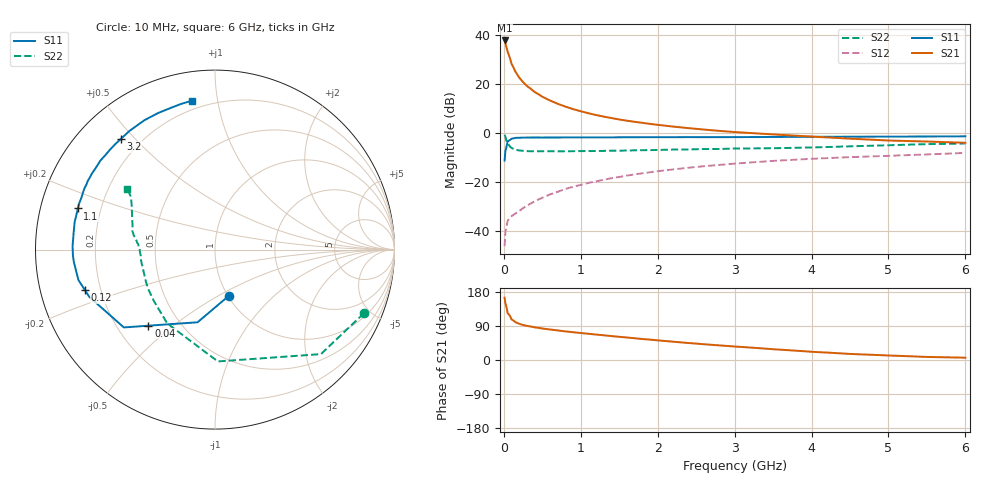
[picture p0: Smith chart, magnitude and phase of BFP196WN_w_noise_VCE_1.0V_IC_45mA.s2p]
! Infineon Technologies  Discrete & RF Semiconductors
! BFP196WN
! VCE =  1.0 V,  IC =  45 mA
! Common Emitter S-Parameters:  Jan 2017
# GHz  S  MA  R  50
!  f  S11  S21  S12  S22
! GHz  MAG  ANG  MAG  ANG  MAG  ANG  MAG  ANG
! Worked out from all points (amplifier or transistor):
!   77 points, 10 MHz to 6 GHz, reference 50 ohm
!   highest |S21| = 37.6 dB at 10 MHz (marker M1)
!   |S21| within 3 dB of that: start of sweep to 35.61 MHz
!   unconditionally stable (mu >= 1): 560.8 MHz to 3.197 GHz
!   at 130 MHz: K = 0.56, MSG = 29.9 dB, |S12| = -33.5 dB
!   at 2.2 GHz: K = 1.03, MAG = 7.7 dB, |S12| = -15.0 dB
!   at 6 GHz: K = 0.96, MSG = 2.1 dB, |S12| = -8.3 dB
!   lowest NFmin = 1.22 dB at 450 MHz
!   S11 on the Smith chart (normalised r, x): 10 MHz: 1.01, -0.56; 40 MHz: 0.33, -0.41; 120 MHz: 0.14, -0.15; 1.1 GHz: 0.11, +0.14; 3.2 GHz: 0.13, +0.46; 6 GHz: 0.15, +0.84
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0.01  0.2686 -73.3  75.99 164.3  0.0048 73.8  0.902 -23.2
0.02  0.4165 -103.5  66.74 149.4  0.0089 65.5  0.8291 -44.6
0.04  0.5634 -131.2  50.59 134.5  0.0134 50.7  0.6438 -71.2
0.05  0.6677 -139.5  44.47 123.4  0.0159 46.6  0.6233 -88.5
0.1  0.7483 -159.4  25.37 107.1  0.0196 43.4  0.4898 -122.9
0.12  0.759 -162.7  22.2 104.8  0.0206 44.0  0.467 -129.3
0.15  0.7796 -167.5  17.55 99.9  0.0222 44.8  0.445 -139.9
0.2  0.7843 -172.2  13.29 95.6  0.0251 49.5  0.4323 -149.4
0.25  0.7898 -175.2  10.7 92.4  0.0286 52.9  0.4243 -155.2
0.3  0.7923 -177.7  8.945 90.1  0.0322 55.5  0.4184 -159.9
0.4  0.7938 178.5  6.747 86.2  0.0393 60.2  0.4151 -165.3
0.5  0.7924 175.7  5.403 83.2  0.0467 62.8  0.4156 -169.2
0.7  0.7943 171.1  3.872 78.1  0.0618 66.2  0.4145 -174.2
0.9  0.7959 166.8  3.014 73.3  0.0784 66.0  0.4176 -177.2
1.1  0.7978 163.3  2.483 69.2  0.094 66.6  0.4195 -179.8
1.5  0.8012 156.5  1.851 61.2  0.1242 64.8  0.4274 176.4
2.1  0.8055 146.9  1.382 50.1  0.1699 60.6  0.4458 172.6
3.1  0.809 131.7  1.003 34.3  0.2386 51.7  0.4733 166.6
3.2  0.8097 130.3  0.981 32.9  0.2449 50.8  0.4748 165.8
4.1  0.8212 117.2  0.813 20.6  0.2962 42.7  0.5019 157.0
5.1  0.828 106.5  0.682 11.2  0.3401 34.9  0.5575 147.6
6  0.8393 98.9  0.619 6.1  0.3851 28.9  0.5972 145.4
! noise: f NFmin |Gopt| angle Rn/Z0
0.45  1.22  0.52  -178  0.05
0.9  1.34  0.55  -172  0.05
1.9  2.26  0.68  -148  0.14
2.4  2.99  0.69  -141  0.27
